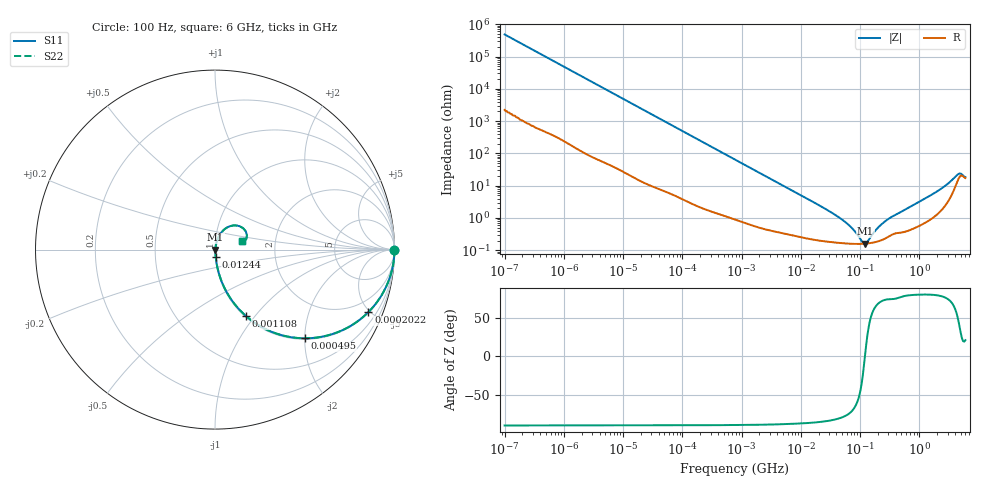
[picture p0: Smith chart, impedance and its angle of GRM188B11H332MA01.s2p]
!Murata Part Number: GRM188B11H332MA01
!These Parameters are Measured in Series Mode Connection
!Data Generated on Mar 30, 2021
!  o--ll--o
!Port1  Port2
!  o------o
!Operation Temp=25[degC], DC Bias Voltage=0[V]
!Freq. Start=100[Hz] Stop=6[GHz] 401[Steps]
# Hz S RI R 50
!Freq.(Hz) S11(Real) S11(Imag) S21(Real) S21(Imag) S12(Real) S12(Imag) S22(Real) S22(Imag)
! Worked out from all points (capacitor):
!   401 points, 100 Hz to 6 GHz, reference 50 ohm
!   read as one part in series: C = 3.3 nF near 109 Hz
!   lowest |Z| = 161 mohm at 122 MHz (marker M1)
!   series resonance near 121 MHz, so ESL is about 520 pH
!   S11 on the Smith chart (normalised r, x): 100 Hz: open; 202.2 kHz: 1.04, -4.89; 495 kHz: 1.02, -2.00; 1.108 MHz: 1.01, -0.90; 12.44 MHz: 1.00, -0.08; 6 GHz: 1.34, +0.13
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100  1 -0.000208  1e-06 0.000208  1e-06 0.000208  1 -0.000208
2008  1 -0.00413  3.64e-05 0.00413  3.64e-05 0.00413  1 -0.00413
40335  0.9928 -0.0816  0.00724 0.0816  0.00724 0.0816  0.9928 -0.0816
108014  0.9527 -0.2085  0.0473 0.2085  0.0473 0.2085  0.9527 -0.2085
202169  0.8544 -0.3485  0.1456 0.3485  0.1456 0.3485  0.8544 -0.3485
495019  0.5012 -0.4941  0.4988 0.4941  0.4988 0.4941  0.5012 -0.4941
774597  0.2949 -0.4491  0.7051 0.4491  0.7051 0.4491  0.2949 -0.4491
1108252  0.1725 -0.37  0.8275 0.37  0.8275 0.37  0.1725 -0.37
2594782  0.04 -0.185  0.96 0.185  0.96 0.185  0.04 -0.185
1.243624e7  0.00398 -0.0405  0.996 0.0405  0.996 0.0405  0.00398 -0.0405
1.555665e7  0.0032 -0.0324  0.9968 0.0324  0.9968 0.0324  0.0032 -0.0324
5.449875e7  0.00169 -0.00766  0.9983 0.00766  0.9983 0.00766  0.00169 -0.00766
7.797396e7  0.00159 -0.00395  0.9984 0.00395  0.9984 0.00395  0.00159 -0.00395
1.115611e8  0.00158 -0.000709  0.9984 0.000709  0.9984 0.000709  0.00158 -0.000709
1.220122e8  0.0016 7.54e-05  0.9984 -7.54e-05  0.9984 -7.54e-05  0.0016 7.54e-05
1.334425e8  0.00163 0.000861  0.9984 -0.000861  0.9984 -0.000861  0.00163 0.000861
2.088084e8  0.00195 0.00501  0.9981 -0.00501  0.9981 -0.00501  0.00195 0.00501
3.124326e8  0.00281 0.00936  0.9972 -0.00936  0.9972 -0.00936  0.00281 0.00936
2.34314e9  0.0227 0.0759  0.9773 -0.0759  0.9773 -0.0759  0.0227 0.0759
4.385646e9  0.1377 0.1301  0.8623 -0.1301  0.8623 -0.1301  0.1377 0.1301
5.016141e9  0.178 0.0807  0.822 -0.0807  0.822 -0.0807  0.178 0.0807
6e9  0.1497 0.0473  0.8503 -0.0473  0.8503 -0.0473  0.1497 0.0473
